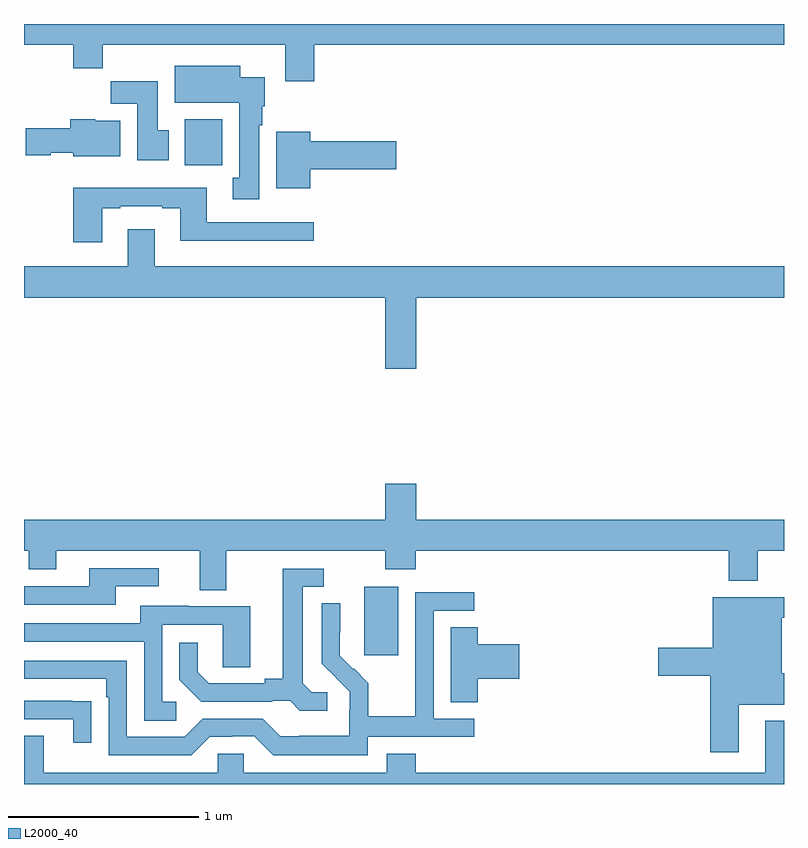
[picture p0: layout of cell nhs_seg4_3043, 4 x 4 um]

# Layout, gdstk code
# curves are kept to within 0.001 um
import gdstk
lib = gdstk.Library(unit=1e-6, precision=1e-09)
def R(c, l, rs):  # rectangles x0, y0, x1, y1
    for r in rs: c.add(gdstk.rectangle(r[:2], r[2:], *l))
def P(c, l, *ps):  # polygons
    for p in ps: c.add(gdstk.Polygon(p, *l))
L2000_40 = (2000, 40)

nhs_seg4_3043 = lib.new_cell('nhs_seg4_3043')
R(nhs_seg4_3043, L2000_40, [(272.792,821.577,272.971,821.938), (271.847,824.156,272.044,824.398)])
P(nhs_seg4_3043, L2000_40, [(272.528,824.792),(275,824.792),(275,824.9),(271,824.9),(271,824.792),(271.259,824.792),(271.259,824.668),(271.415,824.668),(271.415,824.792),(272.375,824.792),(272.375,824.598),(272.528,824.598)],
  [(272.239,824.366),(272.254,824.366),(272.254,824.466),(272.266,824.466),(272.266,824.62),(272.137,824.62),(272.137,824.68),(271.793,824.68),(271.793,824.486),(272.132,824.486),(272.132,824.09),(272.099,824.09),(272.099,823.977),(272.239,823.977)],
  [(271.762,824.34),(271.705,824.34),(271.705,824.598),(271.456,824.598),(271.456,824.48),(271.595,824.48),(271.595,824.184),(271.762,824.184)],
  [(271.507,824.392),(271.374,824.392),(271.374,824.398),(271.244,824.398),(271.244,824.352),(271.008,824.352),(271.008,824.21),(271.14,824.21),(271.14,824.222),(271.26,824.222),(271.26,824.204),(271.507,824.204)],
  [(272.506,824.135),(272.959,824.135),(272.959,824.282),(272.506,824.282),(272.506,824.332),(272.327,824.332),(272.327,824.036),(272.506,824.036)],
  [(271.411,823.929),(271.507,823.929),(271.507,823.941),(271.727,823.941),(271.727,823.929),(271.823,823.929),(271.823,823.76),(272.524,823.76),(272.524,823.857),(271.963,823.857),(271.963,824.038),(271.259,824.038),(271.259,823.752),(271.411,823.752)],
  [(273.064,823.46),(275,823.46),(275,823.624),(271.687,823.624),(271.687,823.819),(271.547,823.819),(271.547,823.624),(271,823.624),(271,823.46),(272.9,823.46),(272.9,823.086),(273.064,823.086)],
  [(272.065,822.128),(272.902,822.128),(272.902,822.029),(273.062,822.029),(273.062,822.128),(274.709,822.128),(274.709,821.969),(274.861,821.969),(274.861,822.128),(275,822.128),(275,822.292),(273.064,822.292),(273.064,822.481),(272.9,822.481),(272.9,822.292),(271,822.292),(271,822.128),(271.024,822.128),(271.024,822.029),(271.171,822.029),(271.171,822.128),(271.925,822.128),(271.925,821.92),(272.065,821.92)],
  [(271.483,821.94),(271.708,821.94),(271.708,822.036),(271.343,822.036),(271.343,821.94),(271,821.94),(271,821.844),(271.483,821.844)],
  [(272.596,821.382),(272.514,821.382),(272.467,821.429),(272.467,821.937),(272.578,821.937),(272.578,822.033),(272.363,822.033),(272.363,821.453),(272.267,821.453),(272.267,821.43),(271.972,821.43),(271.915,821.487),(271.915,821.644),(271.818,821.644),(271.818,821.45),(271.934,821.334),(272.306,821.334),(272.306,821.337),(272.4,821.337),(272.452,821.285),(272.596,821.285)],
  [(272.808,821.148),(273.37,821.148),(273.37,821.244),(273.156,821.244),(273.156,821.811),(273.37,821.811),(273.37,821.91),(273.06,821.91),(273.06,821.48),(273.058,821.48),(273.058,821.257),(272.813,821.257),(272.813,821.431),(272.736,821.508),(272.733,821.505),(272.663,821.576),(272.664,821.852),(272.568,821.852),(272.568,821.534),(272.714,821.386),(272.714,821.289),(272.712,821.289),(272.712,821.155),(272.449,821.155),(272.449,821.151),(272.349,821.151),(272.256,821.244),(271.941,821.244),(271.845,821.148),(271.542,821.148),(271.542,821.55),(271,821.55),(271,821.454),(271.433,821.454),(271.433,821.357),(271.446,821.357),(271.446,821.052),(271.881,821.052),(271.977,821.148),(272.096,821.148),(272.096,821.151),(272.211,821.151),(272.311,821.051),(272.808,821.051)],
  [(274.762,821.318),(275,821.318),(275,821.482),(274.987,821.482),(274.987,821.775),(275,821.775),(275,821.884),(274.625,821.884),(274.625,821.618),(274.338,821.618),(274.338,821.471),(274.613,821.471),(274.613,821.067),(274.762,821.067)],
  [(271.801,821.334),(271.728,821.334),(271.728,821.739),(272.046,821.739),(272.046,821.515),(272.191,821.515),(272.191,821.835),(271.867,821.835),(271.867,821.839),(271.613,821.839),(271.613,821.745),(271,821.745),(271,821.649),(271.632,821.649),(271.632,821.233),(271.801,821.233)],
  [(273.389,821.453),(273.607,821.453),(273.607,821.636),(273.389,821.636),(273.389,821.726),(273.245,821.726),(273.245,821.329),(273.389,821.329)],
  [(271.355,821.336),(271.253,821.336),(271.253,821.337),(271,821.337),(271,821.241),(271.259,821.241),(271.259,821.118),(271.355,821.118)],
  [(275,821.233),(274.901,821.233),(274.901,820.96),(273.062,820.96),(273.062,821.059),(272.909,821.059),(272.909,820.96),(272.157,820.96),(272.157,821.058),(272.019,821.058),(272.019,820.96),(271.105,820.96),(271.105,821.155),(271,821.155),(271,820.9),(275,820.9)])

lib.write_gds('nhs_seg4_3043.gds')
